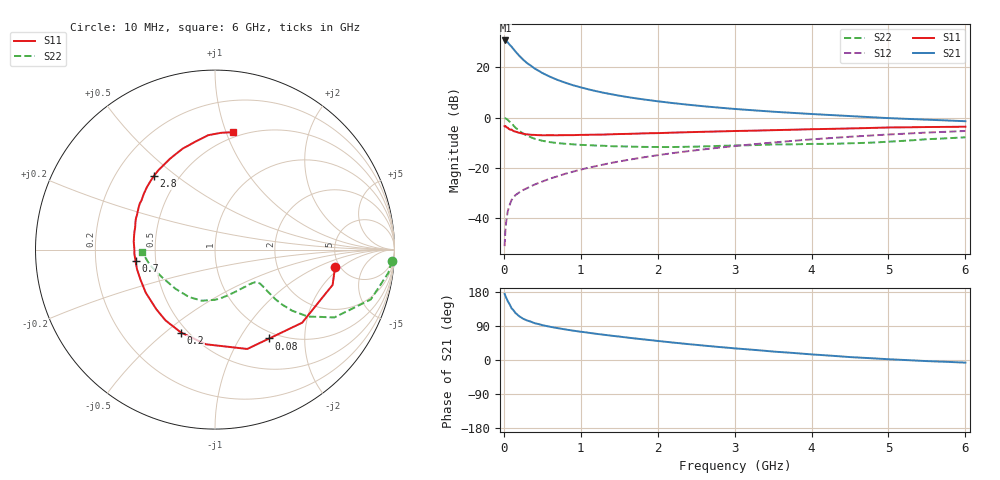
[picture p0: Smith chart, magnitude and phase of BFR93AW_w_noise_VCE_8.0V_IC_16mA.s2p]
! Infineon Technologies  Discrete & RF Semiconductors
! BFR93AW
! VCE =  8.0 V,  IC =  16 mA
! Common Emitter S-Parameters:  Jan 2017
# GHz  S  MA  R  50
!  f  S11  S21  S12  S22
! GHz  MAG  ANG  MAG  ANG  MAG  ANG  MAG  ANG
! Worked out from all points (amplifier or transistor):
!   77 points, 10 MHz to 6 GHz, reference 50 ohm
!   highest |S21| = 30.7 dB at 20 MHz (marker M1)
!   |S21| within 3 dB of that: start of sweep to 114.4 MHz
!   unconditionally stable (mu >= 1): 758.7 MHz to 2.061 GHz
!   at 130 MHz: K = 0.38, MSG = 29.3 dB, |S12| = -31.5 dB
!   at 2.2 GHz: K = 0.99, MSG = 9.9 dB, |S12| = -14.1 dB
!   at 6 GHz: K = 0.86, MSG = 1.9 dB, |S12| = -5.3 dB
!   lowest NFmin = 1.41 dB at 450 MHz
!   S11 on the Smith chart (normalised r, x): 10 MHz: 4.54, -1.65; 80 MHz: 0.91, -1.35; 200 MHz: 0.46, -0.57; 700 MHz: 0.38, -0.06; 2.8 GHz: 0.36, +0.42; 6 GHz: 0.45, +1.06
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0.01  0.676 -8.4  34.16 174.4  0.0028 80.3  0.9879 -3.7
0.02  0.6842 -16.7  34.2 169.5  0.0058 87.1  0.9742 -7.7
0.05  0.6338 -40.0  31.4 155.3  0.0136 72.7  0.9109 -17.8
0.08  0.58 -58.6  27.66 145.1  0.0192 65.9  0.8191 -24.4
0.1  0.5821 -72.0  25.77 136.8  0.0231 63.2  0.765 -29.6
0.15  0.5299 -95.5  20.73 124.2  0.0289 57.4  0.6375 -35.8
0.2  0.4994 -112.3  16.98 115.5  0.0327 56.1  0.5473 -38.4
0.25  0.4812 -125.0  14.27 109.0  0.0365 55.0  0.4839 -39.3
0.3  0.4663 -134.5  12.2 104.4  0.0396 55.2  0.4369 -39.4
0.4  0.4544 -148.1  9.491 97.2  0.0469 58.2  0.3813 -38.6
0.5  0.4477 -158.2  7.71 92.1  0.0538 60.6  0.3475 -37.7
0.6  0.448 -165.6  6.505 87.7  0.0616 62.5  0.3267 -37.3
0.7  0.4476 -171.6  5.611 84.1  0.0686 64.3  0.3126 -37.0
0.9  0.4499 178.8  4.405 77.5  0.0847 66.0  0.2953 -38.2
1.1  0.4571 170.7  3.654 71.9  0.1013 66.9  0.2843 -40.4
1.5  0.4731 158.8  2.734 61.8  0.1349 67.1  0.269 -47.8
2.1  0.4986 143.8  2.03 48.2  0.1888 64.6  0.261 -63.9
2.8  0.5335 129.5  1.582 34.3  0.2538 59.9  0.275 -85.2
3.1  0.5465 123.6  1.453 29.2  0.2823 57.3  0.2817 -93.7
4.1  0.5936 106.4  1.16 13.5  0.3797 47.7  0.3011 -122.2
5.1  0.6406 92.1  0.966 1.1  0.4714 36.6  0.3397 -155.7
6  0.6619 81.4  0.851 -6.9  0.5439 26.1  0.4076 -178.4
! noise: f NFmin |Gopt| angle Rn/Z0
0.45  1.41  0.12  146  0.13
0.9  1.69  0.23  168  0.14
1.9  2.69  0.47  -141  0.21
2.4  3.31  0.54  -127  0.41
